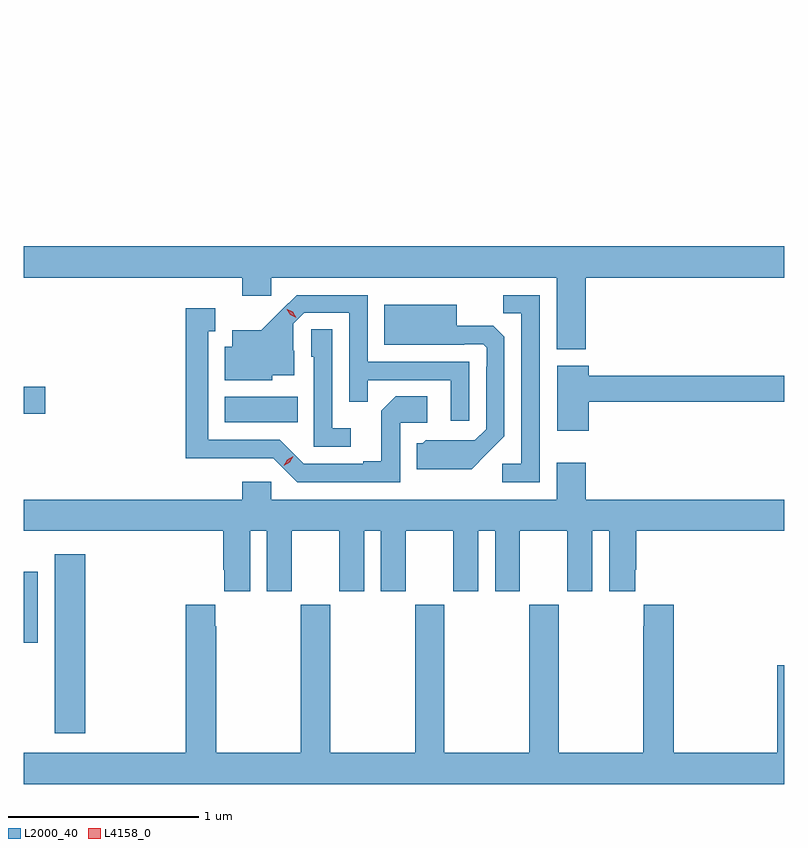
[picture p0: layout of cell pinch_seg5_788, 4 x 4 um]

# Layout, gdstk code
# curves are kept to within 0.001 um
import gdstk
lib = gdstk.Library(unit=1e-6, precision=1e-09)
def R(c, l, rs):  # rectangles x0, y0, x1, y1
    for r in rs: c.add(gdstk.rectangle(r[:2], r[2:], *l))
def P(c, l, *ps):  # polygons
    for p in ps: c.add(gdstk.Polygon(p, *l))
L2000_40 = (2000, 40)
L4158_0 = (4158, 0)

pinch_seg5_788 = lib.new_cell('pinch_seg5_788')
R(pinch_seg5_788, L2000_40, [(759.854,900.984,760.013,901.924), (759.691,901.458,759.765,901.833), (760.748,902.618,761.132,902.752), (759.691,902.665,759.805,902.807), (759.691,904.712,763.691,904.714)])
P(pinch_seg5_788, L2000_40, [(762.647,903.38),(763.691,903.38),(763.691,903.544),(759.691,903.544),(759.691,903.38),(760.841,903.38),(760.841,903.285),(760.992,903.285),(760.992,903.38),(762.494,903.38),(762.494,903.002),(762.647,903.002)],
  [(762.405,903.288),(762.214,903.288),(762.214,903.193),(762.309,903.193),(762.309,902.4),(762.207,902.4),(762.207,902.304),(762.405,902.304)],
  [(762.033,902.937),(761.499,902.937),(761.499,903.288),(761.126,903.288),(760.939,903.103),(760.787,903.103),(760.787,903.016),(760.748,903.016),(760.748,902.84),(760.998,902.84),(760.998,902.867),(761.113,902.867),(761.113,902.996),(761.109,902.996),(761.109,903.138),(761.166,903.195),(761.403,903.195),(761.403,902.728),(761.501,902.728),(761.501,902.841),(761.937,902.841),(761.937,902.628),(762.033,902.628)],
  [(762.127,902.453),(762.219,902.546),(762.219,903.068),(762.16,903.127),(761.968,903.127),(761.968,903.238),(761.588,903.238),(761.588,903.026),(762.008,903.026),(762.008,903.03),(762.108,903.03),(762.126,903.012),(762.126,902.912),(762.123,902.912),(762.123,902.583),(762.063,902.523),(761.806,902.524),(761.79,902.508),(761.759,902.508),(761.759,902.372),(762.047,902.372)],
  [(761.67,902.616),(761.812,902.616),(761.812,902.756),(761.647,902.756),(761.571,902.68),(761.571,902.413),(761.477,902.413),(761.477,902.4),(761.163,902.4),(761.037,902.526),(760.66,902.526),(760.66,903.099),(760.699,903.099),(760.699,903.22),(760.542,903.22),(760.542,902.429),(761.004,902.43),(761.13,902.304),(761.67,902.304)],
  [(761.41,902.587),(761.313,902.587),(761.313,903.107),(761.202,903.107),(761.202,902.964),(761.217,902.964),(761.217,902.49),(761.41,902.49)],
  [(762.664,902.728),(763.691,902.728),(763.691,902.864),(762.664,902.864),(762.664,902.917),(762.497,902.917),(762.497,902.574),(762.664,902.574)],
  [(760.882,902.048),(760.97,902.048),(760.97,901.731),(761.101,901.731),(761.101,902.048),(761.351,902.048),(761.351,901.731),(761.482,901.731),(761.482,902.048),(761.57,902.048),(761.57,901.731),(761.701,901.731),(761.701,902.048),(761.951,902.048),(761.951,901.731),(762.082,901.731),(762.082,902.048),(762.17,902.048),(762.17,901.731),(762.301,901.731),(762.301,902.048),(762.551,902.048),(762.551,901.731),(762.682,901.731),(762.682,902.048),(762.77,902.048),(762.77,901.731),(762.907,901.731),(762.907,901.843),(762.914,901.843),(762.914,902.048),(763.691,902.048),(763.691,902.212),(762.647,902.212),(762.647,902.407),(762.494,902.407),(762.494,902.212),(760.992,902.212),(760.992,902.305),(760.841,902.305),(760.841,902.212),(759.691,902.212),(759.691,902.048),(760.739,902.048),(760.739,901.843),(760.745,901.843),(760.745,901.731),(760.882,901.731)],
  [(763.691,901.342),(763.655,901.342),(763.655,900.88),(763.109,900.88),(763.109,901.66),(762.953,901.66),(762.953,901.547),(762.949,901.547),(762.949,900.88),(762.504,900.88),(762.504,901.66),(762.349,901.66),(762.349,900.88),(761.904,900.88),(761.904,901.66),(761.749,901.66),(761.749,900.88),(761.304,900.88),(761.304,901.66),(761.149,901.66),(761.149,900.88),(760.704,900.88),(760.704,901.547),(760.699,901.547),(760.699,901.66),(760.544,901.66),(760.544,900.88),(759.691,900.88),(759.691,900.716),(763.691,900.716)])
P(pinch_seg5_788, L4158_0, [(761.124,903.17),(761.093,903.184),(761.075,903.213),(761.075,903.214),(761.076,903.214),(761.106,903.199),(761.124,903.17),(761.124,903.17)],
  [(761.058,902.39),(761.058,902.39),(761.076,902.422),(761.108,902.441),(761.109,902.441),(761.109,902.441),(761.091,902.408),(761.059,902.39)])

lib.write_gds('pinch_seg5_788.gds')
